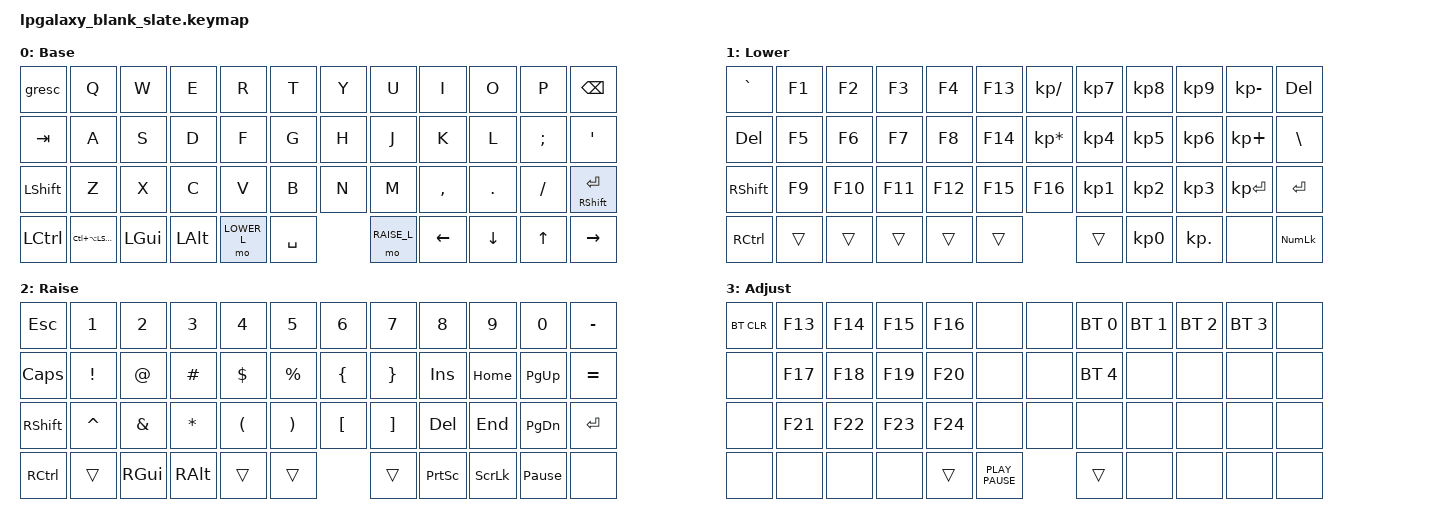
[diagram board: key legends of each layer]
#include <behaviors.dtsi>
#include <dt-bindings/zmk/bt.h>
#include <dt-bindings/zmk/keys.h>

#define LOWER_L		1
#define RAISE_L		2
#define ADJUST_L	3

/ {
    chosen { zmk,matrix_transform = &mit_transform; };

    conditional_layers {
        compatible = "zmk,conditional-layers";

        tri_layer {
            if-layers = <1 2>;
            then-layer = <3>;
        };
    };

    behaviors {
        gresc: grave_escape {
            compatible = "zmk,behavior-mod-morph";
            #binding-cells = <0>;
            bindings = <&kp ESC>, <&kp GRAVE>;

            mods = <(MOD_LGUI|MOD_LSFT|MOD_LCTL)>;
            keep-mods = <MOD_LSFT>;
        };
    };

    keymap {
        compatible = "zmk,keymap";

        base_layer {
            label = "Base";
            bindings = <
&gresc     &kp Q              &kp W     &kp E     &kp R        &kp T             &kp Y  &kp U        &kp I      &kp O     &kp P     &kp BSPC
&kp TAB    &kp A              &kp S     &kp D     &kp F        &kp G             &kp H  &kp J        &kp K      &kp L     &kp SEMI  &kp APOS
&kp LSHFT  &kp Z              &kp X     &kp C     &kp V        &kp B             &kp N  &kp M        &kp COMMA  &kp DOT   &kp FSLH  &mt RSHFT RET
&kp LCTRL  &kp LC(LA(LSHFT))  &kp LGUI  &kp LALT  &mo LOWER_L         &kp SPACE         &mo RAISE_L  &kp LEFT   &kp DOWN  &kp UP    &kp RIGHT
            >;
        };

        lower_layer {
            label = "Lower";
            bindings = <
&kp GRAVE  &kp F1  &kp F2   &kp F3   &kp F4   &kp F13            &kp KP_DIVIDE    &kp KP_N7  &kp KP_N8  &kp KP_N9   &kp KP_MINUS  &kp DEL
&kp DEL    &kp F5  &kp F6   &kp F7   &kp F8   &kp F14            &kp KP_MULTIPLY  &kp KP_N4  &kp KP_N5  &kp KP_N6   &kp KP_PLUS   &kp BSLH
&kp RSHFT     &kp F9  &kp F10  &kp F11  &kp F12  &kp F15            &kp F16          &kp KP_N1  &kp KP_N2  &kp KP_N3   &kp KP_ENTER  &kp RET
&kp RCTRL     &trans  &trans   &trans   &trans            &trans                   &trans     &kp KP_N0  &kp KP_DOT  &none         &kp KP_NUM
            >;
        };

        raise_layer {
            label = "Raise";
            bindings = <
&kp ESC    &kp N1     &kp N2    &kp N3     &kp N4      &kp N5                &kp N6    &kp N7    &kp N8     &kp N9    &kp N0           &kp MINUS
&kp CAPS   &kp EXCL   &kp AT    &kp HASH   &kp DOLLAR  &kp PERCENT           &kp LBRC  &kp RBRC  &kp INS    &kp HOME  &kp PG_UP        &kp EQUAL
&kp RSHFT  &kp CARET  &kp AMPS  &kp ASTRK  &kp LPAR    &kp RPAR              &kp LBKT  &kp RBKT  &kp DEL    &kp END   &kp PG_DN        &kp RET
&kp RCTRL  &trans     &kp RGUI  &kp RALT   &trans                   &trans            &trans    &kp PSCRN  &kp SLCK  &kp PAUSE_BREAK  &none
            >;
        };

        adjust_layer {
            label = "Adjust";
            bindings = <
&bt BT_CLR  &kp F13  &kp F14  &kp F15  &kp F16  &none                    &none  &bt BT_SEL 0  &bt BT_SEL 1  &bt BT_SEL 2  &bt BT_SEL 3  &none
&none       &kp F17  &kp F18  &kp F19  &kp F20  &none                    &none  &bt BT_SEL 4  &none         &none         &none         &none
&none       &kp F21  &kp F22  &kp F23  &kp F24  &none                    &none  &none         &none         &none         &none         &none
&none       &none    &none    &none    &trans          &kp K_PLAY_PAUSE         &trans        &none         &none         &none         &none
            >;
        };
    };
};
